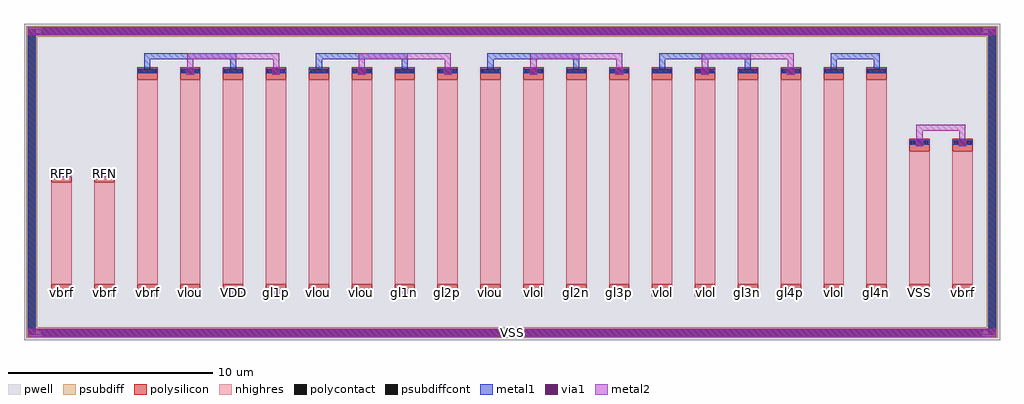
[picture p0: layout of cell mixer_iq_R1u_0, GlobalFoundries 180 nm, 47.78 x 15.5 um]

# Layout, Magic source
magic
tech gf180mcuD
magscale 1 10
<< pwell >>
rect -368 -464 9188 2636
<< psubdiff >>
rect -344 -440 9164 -336
rect -344 2508 9164 2612
rect -344 -336 -240 2508
rect 9060 -336 9164 2508
<< polysilicon >>
rect -100 1086 100 1208
rect -100 -36 100 86
rect 320 1086 520 1208
rect 320 -36 520 86
rect 740 2086 940 2208
rect 740 -36 940 86
rect 1580 2086 1780 2208
rect 1580 -36 1780 86
rect 1160 2086 1360 2208
rect 1160 -36 1360 86
rect 2000 2086 2200 2208
rect 2000 -36 2200 86
rect 2420 2086 2620 2208
rect 2420 -36 2620 86
rect 3260 2086 3460 2208
rect 3260 -36 3460 86
rect 2840 2086 3040 2208
rect 2840 -36 3040 86
rect 3680 2086 3880 2208
rect 3680 -36 3880 86
rect 4100 2086 4300 2208
rect 4100 -36 4300 86
rect 4940 2086 5140 2208
rect 4940 -36 5140 86
rect 4520 2086 4720 2208
rect 4520 -36 4720 86
rect 5360 2086 5560 2208
rect 5360 -36 5560 86
rect 5780 2086 5980 2208
rect 5780 -36 5980 86
rect 6620 2086 6820 2208
rect 6620 -36 6820 86
rect 6200 2086 6400 2208
rect 6200 -36 6400 86
rect 7040 2086 7240 2208
rect 7040 -36 7240 86
rect 7460 2086 7660 2208
rect 7460 -36 7660 86
rect 7880 2086 8080 2208
rect 7880 -36 8080 86
rect 8300 1386 8500 1508
rect 8300 -36 8500 86
rect 8720 1386 8920 1508
rect 8720 -36 8920 86
<< nhighres >>
rect -100 86 100 1086
rect 320 86 520 1086
rect 740 86 940 2086
rect 1580 86 1780 2086
rect 1160 86 1360 2086
rect 2000 86 2200 2086
rect 2420 86 2620 2086
rect 3260 86 3460 2086
rect 2840 86 3040 2086
rect 3680 86 3880 2086
rect 4100 86 4300 2086
rect 4940 86 5140 2086
rect 4520 86 4720 2086
rect 5360 86 5560 2086
rect 5780 86 5980 2086
rect 6620 86 6820 2086
rect 6200 86 6400 2086
rect 7040 86 7240 2086
rect 7460 86 7660 2086
rect 7880 86 8080 2086
rect 8300 86 8500 1386
rect 8720 86 8920 1386
<< psubdiffcont >>
rect -331 -416 -253 2588
rect 9073 -416 9151 2588
rect -193 2521 9013 2599
rect -193 -427 9013 -349
<< polycontact >>
rect -87 1149 87 1195
rect -87 -23 87 23
rect 333 1149 507 1195
rect 333 -23 507 23
rect 753 2149 927 2195
rect 753 -23 927 23
rect 1593 2149 1767 2195
rect 1593 -23 1767 23
rect 1173 2149 1347 2195
rect 1173 -23 1347 23
rect 2013 2149 2187 2195
rect 2013 -23 2187 23
rect 2433 2149 2607 2195
rect 2433 -23 2607 23
rect 3273 2149 3447 2195
rect 3273 -23 3447 23
rect 2853 2149 3027 2195
rect 2853 -23 3027 23
rect 3693 2149 3867 2195
rect 3693 -23 3867 23
rect 4113 2149 4287 2195
rect 4113 -23 4287 23
rect 4953 2149 5127 2195
rect 4953 -23 5127 23
rect 4533 2149 4707 2195
rect 4533 -23 4707 23
rect 5373 2149 5547 2195
rect 5373 -23 5547 23
rect 5793 2149 5967 2195
rect 5793 -23 5967 23
rect 6633 2149 6807 2195
rect 6633 -23 6807 23
rect 6213 2149 6387 2195
rect 6213 -23 6387 23
rect 7053 2149 7227 2195
rect 7053 -23 7227 23
rect 7473 2149 7647 2195
rect 7473 -23 7647 23
rect 7893 2149 8067 2195
rect 7893 -23 8067 23
rect 8313 1449 8487 1495
rect 8313 -23 8487 23
rect 8733 1449 8907 1495
rect 8733 -23 8907 23
<< metal1 >>
rect -98 1149 98 1195
rect -98 -23 98 23
rect 322 1149 518 1195
rect 322 -23 518 23
rect 742 2149 938 2195
rect 742 -23 938 23
rect 1582 2149 1778 2195
rect 1582 -23 1778 23
rect 1162 2149 1358 2195
rect 1162 -23 1358 23
rect 2002 2149 2198 2195
rect 2002 -23 2198 23
rect 2422 2149 2618 2195
rect 2422 -23 2618 23
rect 3262 2149 3458 2195
rect 3262 -23 3458 23
rect 2842 2149 3038 2195
rect 2842 -23 3038 23
rect 3682 2149 3878 2195
rect 3682 -23 3878 23
rect 4102 2149 4298 2195
rect 4102 -23 4298 23
rect 4942 2149 5138 2195
rect 4942 -23 5138 23
rect 4522 2149 4718 2195
rect 4522 -23 4718 23
rect 5362 2149 5558 2195
rect 5362 -23 5558 23
rect 5782 2149 5978 2195
rect 5782 -23 5978 23
rect 6622 2149 6818 2195
rect 6622 -23 6818 23
rect 6202 2149 6398 2195
rect 6202 -23 6398 23
rect 7042 2149 7238 2195
rect 7042 -23 7238 23
rect 7462 2149 7658 2195
rect 7462 -23 7658 23
rect 7882 2149 8078 2195
rect 7882 -23 8078 23
rect 8302 1449 8498 1495
rect 8302 -23 8498 23
rect 8722 1449 8918 1495
rect 8722 -23 8918 23
rect -98 -38 98 38
rect -98 1134 98 1210
rect 322 -38 518 38
rect 322 1134 518 1210
rect 742 -38 938 38
rect 810 2149 870 2348
rect 1650 2149 1710 2348
rect 810 2288 1710 2348
rect 1582 -38 1778 38
rect 1162 -38 1358 38
rect 1222 2134 1298 2210
rect 2062 2134 2138 2210
rect 2002 -38 2198 38
rect 2422 -38 2618 38
rect 2490 2149 2550 2348
rect 3330 2149 3390 2348
rect 2490 2288 3390 2348
rect 3262 -38 3458 38
rect 2842 -38 3038 38
rect 2902 2134 2978 2210
rect 3742 2134 3818 2210
rect 3682 -38 3878 38
rect 4102 -38 4298 38
rect 4170 2149 4230 2348
rect 5010 2149 5070 2348
rect 4170 2288 5070 2348
rect 4942 -38 5138 38
rect 4522 -38 4718 38
rect 4582 2134 4658 2210
rect 5422 2134 5498 2210
rect 5362 -38 5558 38
rect 5782 -38 5978 38
rect 5850 2149 5910 2348
rect 6690 2149 6750 2348
rect 5850 2288 6750 2348
rect 6622 -38 6818 38
rect 6202 -38 6398 38
rect 6262 2134 6338 2210
rect 7102 2134 7178 2210
rect 7042 -38 7238 38
rect 7462 -38 7658 38
rect 7530 2149 7590 2348
rect 7950 2149 8010 2348
rect 7530 2288 8010 2348
rect 7882 -38 8078 38
rect 8302 -38 8498 38
rect 8362 1434 8438 1510
rect 8782 1434 8858 1510
rect 8722 -38 8918 38
rect -331 -427 9151 -349
rect -331 2521 9151 2599
rect -331 -427 -253 2599
rect 9073 -427 9151 2599
rect -331 -427 9151 -349
rect -331 2521 9151 2599
<< metal2 >>
rect -98 -38 98 38
rect -98 1134 98 1210
rect 322 -38 518 38
rect 322 1134 518 1210
rect 742 -38 938 38
rect 1582 -38 1778 38
rect 1162 -38 1358 38
rect 1222 2134 1298 2210
rect 1230 2172 1290 2348
rect 2062 2134 2138 2210
rect 2070 2172 2130 2348
rect 1230 2288 2130 2348
rect 2002 -38 2198 38
rect 2422 -38 2618 38
rect 3262 -38 3458 38
rect 2842 -38 3038 38
rect 2902 2134 2978 2210
rect 2910 2172 2970 2348
rect 3742 2134 3818 2210
rect 3750 2172 3810 2348
rect 2910 2288 3810 2348
rect 3682 -38 3878 38
rect 4102 -38 4298 38
rect 4942 -38 5138 38
rect 4522 -38 4718 38
rect 4582 2134 4658 2210
rect 4590 2172 4650 2348
rect 5422 2134 5498 2210
rect 5430 2172 5490 2348
rect 4590 2288 5490 2348
rect 5362 -38 5558 38
rect 5782 -38 5978 38
rect 6622 -38 6818 38
rect 6202 -38 6398 38
rect 6262 2134 6338 2210
rect 6270 2172 6330 2348
rect 7102 2134 7178 2210
rect 7110 2172 7170 2348
rect 6270 2288 7170 2348
rect 7042 -38 7238 38
rect 7462 -38 7658 38
rect 7882 -38 8078 38
rect 8302 -38 8498 38
rect 8362 1434 8438 1510
rect 8370 1472 8430 1648
rect 8782 1434 8858 1510
rect 8790 1472 8850 1648
rect 8370 1588 8850 1648
rect 8722 -38 8918 38
rect -331 -427 9151 -349
rect -331 2521 9151 2599
<< via1 >>
rect -86 -26 86 26
rect -86 1146 86 1198
rect 334 -26 506 26
rect 334 1146 506 1198
rect 754 -26 926 26
rect 1594 -26 1766 26
rect 1174 -26 1346 26
rect 1234 2146 1286 2198
rect 2074 2146 2126 2198
rect 2014 -26 2186 26
rect 2434 -26 2606 26
rect 3274 -26 3446 26
rect 2854 -26 3026 26
rect 2914 2146 2966 2198
rect 3754 2146 3806 2198
rect 3694 -26 3866 26
rect 4114 -26 4286 26
rect 4954 -26 5126 26
rect 4534 -26 4706 26
rect 4594 2146 4646 2198
rect 5434 2146 5486 2198
rect 5374 -26 5546 26
rect 5794 -26 5966 26
rect 6634 -26 6806 26
rect 6214 -26 6386 26
rect 6274 2146 6326 2198
rect 7114 2146 7166 2198
rect 7054 -26 7226 26
rect 7474 -26 7646 26
rect 7894 -26 8066 26
rect 8314 -26 8486 26
rect 8374 1446 8426 1498
rect 8794 1446 8846 1498
rect 8734 -26 8906 26
rect -319 -415 9139 -361
rect -319 2533 9139 2587
<< labels >>
flabel metal2 s -98 -38 98 38 0 FreeSans 80 0 0 0 vbrf
port 1 nsew signal bidirectional
flabel metal2 s -98 1134 98 1210 0 FreeSans 80 0 0 0 RFP
port 2 nsew signal bidirectional
flabel metal2 s 322 -38 518 38 0 FreeSans 80 0 0 0 vbrf
port 1 nsew signal bidirectional
flabel metal2 s 322 1134 518 1210 0 FreeSans 80 0 0 0 RFN
port 3 nsew signal bidirectional
flabel metal2 s 742 -38 938 38 0 FreeSans 80 0 0 0 vbrf
port 1 nsew signal bidirectional
flabel metal2 s 1582 -38 1778 38 0 FreeSans 80 0 0 0 VDD
port 4 nsew signal bidirectional
flabel metal2 s 1162 -38 1358 38 0 FreeSans 80 0 0 0 vlou
port 5 nsew signal bidirectional
flabel metal2 s 2002 -38 2198 38 0 FreeSans 80 0 0 0 gl1p
port 6 nsew signal bidirectional
flabel metal2 s 2422 -38 2618 38 0 FreeSans 80 0 0 0 vlou
port 5 nsew signal bidirectional
flabel metal2 s 3262 -38 3458 38 0 FreeSans 80 0 0 0 gl1n
port 7 nsew signal bidirectional
flabel metal2 s 2842 -38 3038 38 0 FreeSans 80 0 0 0 vlou
port 5 nsew signal bidirectional
flabel metal2 s 3682 -38 3878 38 0 FreeSans 80 0 0 0 gl2p
port 8 nsew signal bidirectional
flabel metal2 s 4102 -38 4298 38 0 FreeSans 80 0 0 0 vlou
port 5 nsew signal bidirectional
flabel metal2 s 4942 -38 5138 38 0 FreeSans 80 0 0 0 gl2n
port 9 nsew signal bidirectional
flabel metal2 s 4522 -38 4718 38 0 FreeSans 80 0 0 0 vlol
port 10 nsew signal bidirectional
flabel metal2 s 5362 -38 5558 38 0 FreeSans 80 0 0 0 gl3p
port 11 nsew signal bidirectional
flabel metal2 s 5782 -38 5978 38 0 FreeSans 80 0 0 0 vlol
port 10 nsew signal bidirectional
flabel metal2 s 6622 -38 6818 38 0 FreeSans 80 0 0 0 gl3n
port 12 nsew signal bidirectional
flabel metal2 s 6202 -38 6398 38 0 FreeSans 80 0 0 0 vlol
port 10 nsew signal bidirectional
flabel metal2 s 7042 -38 7238 38 0 FreeSans 80 0 0 0 gl4p
port 13 nsew signal bidirectional
flabel metal2 s 7462 -38 7658 38 0 FreeSans 80 0 0 0 vlol
port 10 nsew signal bidirectional
flabel metal2 s 7882 -38 8078 38 0 FreeSans 80 0 0 0 gl4n
port 14 nsew signal bidirectional
flabel metal2 s 8302 -38 8498 38 0 FreeSans 80 0 0 0 VSS
port 15 nsew signal bidirectional
flabel metal2 s 8722 -38 8918 38 0 FreeSans 80 0 0 0 vbrf
port 1 nsew signal bidirectional
flabel metal2 s -331 -427 9151 -349 0 FreeSans 80 0 0 0 VSS
port 15 nsew signal bidirectional
<< end >>
